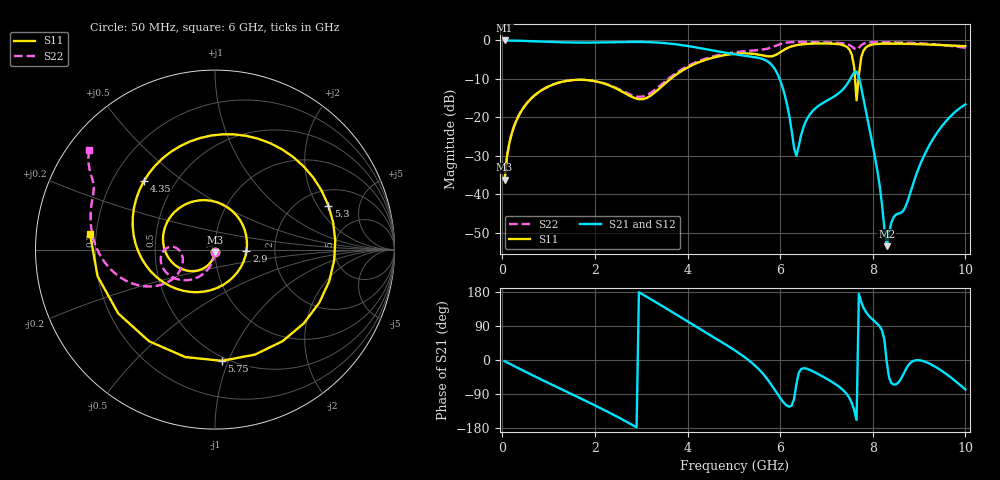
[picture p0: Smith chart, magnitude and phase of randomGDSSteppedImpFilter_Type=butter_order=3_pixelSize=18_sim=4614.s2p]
! freq	dB(S11)	phase(S11)	dB(S12)	phase(S12)
!  dB(S21)	phase(S21)	dB(S22)	phase(S22)
!S-par simulation data
#  GHz  S  DB  R 50
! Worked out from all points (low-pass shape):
!   200 points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, 50 MHz to 10 GHz, reference 50 ohm
!   highest |S21| = -0.01 dB at 50 MHz (marker M1); lowest = -53.4 dB at 8.3 GHz (marker M2)
!   |S21| within 3 dB of the highest: start of sweep to 4.732 GHz
!   lowest |S11| = -36.2 dB at 50 MHz (marker M3), VSWR 1.03, Z = 49.9 - j1.55 ohm
!   |S11| at or under -10 dB: start of sweep to 3.632 GHz; 7.617 GHz to 7.693 GHz (75.53 MHz wide, 0.987 % of centre)
!   |S22| runs from -36.2 to -0.4 dB; largest |S21 - S12| = 0
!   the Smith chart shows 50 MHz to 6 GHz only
!   S11 on the Smith chart (normalised r, x): 50 MHz: 1.00, -0.03; 2.9 GHz: 1.42, -0.03; 4.35 GHz: 0.33, +0.36; 5.3 GHz: 2.76, +2.51; 5.75 GHz: 0.47, -0.95; 6 GHz: 0.18, +0.06
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0.05  -36.17 -93.2  -0.01 -3.2  -0.01 -3.2  -36.19 -92.1
0.2  -24.33 -105.2  -0.04 -12.5  -0.04 -12.5  -24.31 -100.1
0.5  -16.77 -127.9  -0.14 -31.0  -0.14 -31.0  -16.75 -115.0
1.75  -10.24 137.2  -0.56 -104.9  -0.56 -104.9  -10.21 -167.7
2.9  -15.12 -2.9  -0.39 -177.7  -0.39 -177.7  -14.57 -171.8
3.4  -12.39 -103.5  -0.59 146.4  -0.59 146.4  -11.79 -146.2
4.35  -5.20 136.2  -2.16 76.0  -2.16 76.0  -4.90 -166.2
5.05  -3.45 56.4  -3.65 23.0  -3.65 23.0  -3.03 168.7
5.3  -3.38 21.2  -4.08 1.3  -4.08 1.3  -2.73 160.7
5.55  -3.71 -26.9  -4.58 -25.7  -4.58 -25.7  -2.47 154.0
5.75  -4.14 -86.5  -5.62 -54.9  -5.62 -54.9  -2.04 150.0
6  -3.08 172.9  -10.34 -100.3  -10.34 -100.3  -0.97 141.6
6.15  -2.01 122.6  -16.72 -120.8  -16.72 -120.8  -0.55 133.9
6.35  -1.23 75.9  -29.97 -64.3  -29.97 -64.3  -0.40 123.7
6.7  -0.83 24.4  -18.34 -29.5  -18.34 -29.5  -0.44 108.2
7.45  -1.77 -58.2  -11.28 -91.8  -11.28 -91.8  -1.00 74.3
7.65  -15.55 -67.9  -8.10 -158.3  -8.10 -158.3  -2.38 72.3
7.8  -2.64 -27.1  -15.24 137.9  -15.24 137.9  -0.85 70.1
8.3  -0.82 -82.7  -53.42 -3.8  -53.42 -3.8  -0.47 39.6
8.35  -0.82 -86.5  -50.06 -45.4  -50.06 -45.4  -0.48 36.6
9.2  -1.06 -148.4  -27.70 -8.1  -27.70 -8.1  -0.87 -25.1
10  -1.50 144.7  -16.60 -77.7  -16.60 -77.7  -1.89 -120.0
